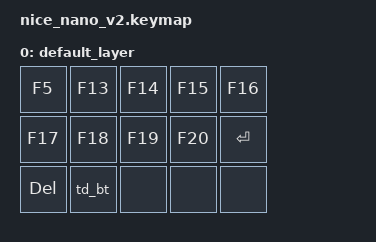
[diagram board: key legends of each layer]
#include <behaviors.dtsi>
#include <dt-bindings/zmk/keys.h>
#include <dt-bindings/zmk/bt.h>

/*
 * nice!nano v2 2x5 keymap
 * 与 config/nice_nano.keymap 相同，v2 板单独命名。
 */

/ {
    chosen {
        zmk,keymap = &default_layer;
    };

    behaviors {
        /* BT Reset 键双功能：
         * 单击 = 清空蓝牙配对（BT_CLR_ALL）
         * 双击 = 进 bootloader 刷机模式（&bootloader，无需按 RST）
         */
        td_bt: td_bt {
            compatible = "zmk,behavior-tap-dance";
            #binding-cells = <0>;
            tapping-term-ms = <250>;
            bindings = <&bt BT_CLR_ALL>, <&bootloader>;
        };
    };

    default_layer: keymap {
        compatible = "zmk,keymap";

        default_layer {
            bindings = <
                &kp F5  &kp F13 &kp F14 &kp F15 &kp F16
                &kp F17 &kp F18 &kp F19 &kp F20 &kp RET
                &kp DEL  &td_bt  &none   &none   &none
            >;
        };
    };
};
